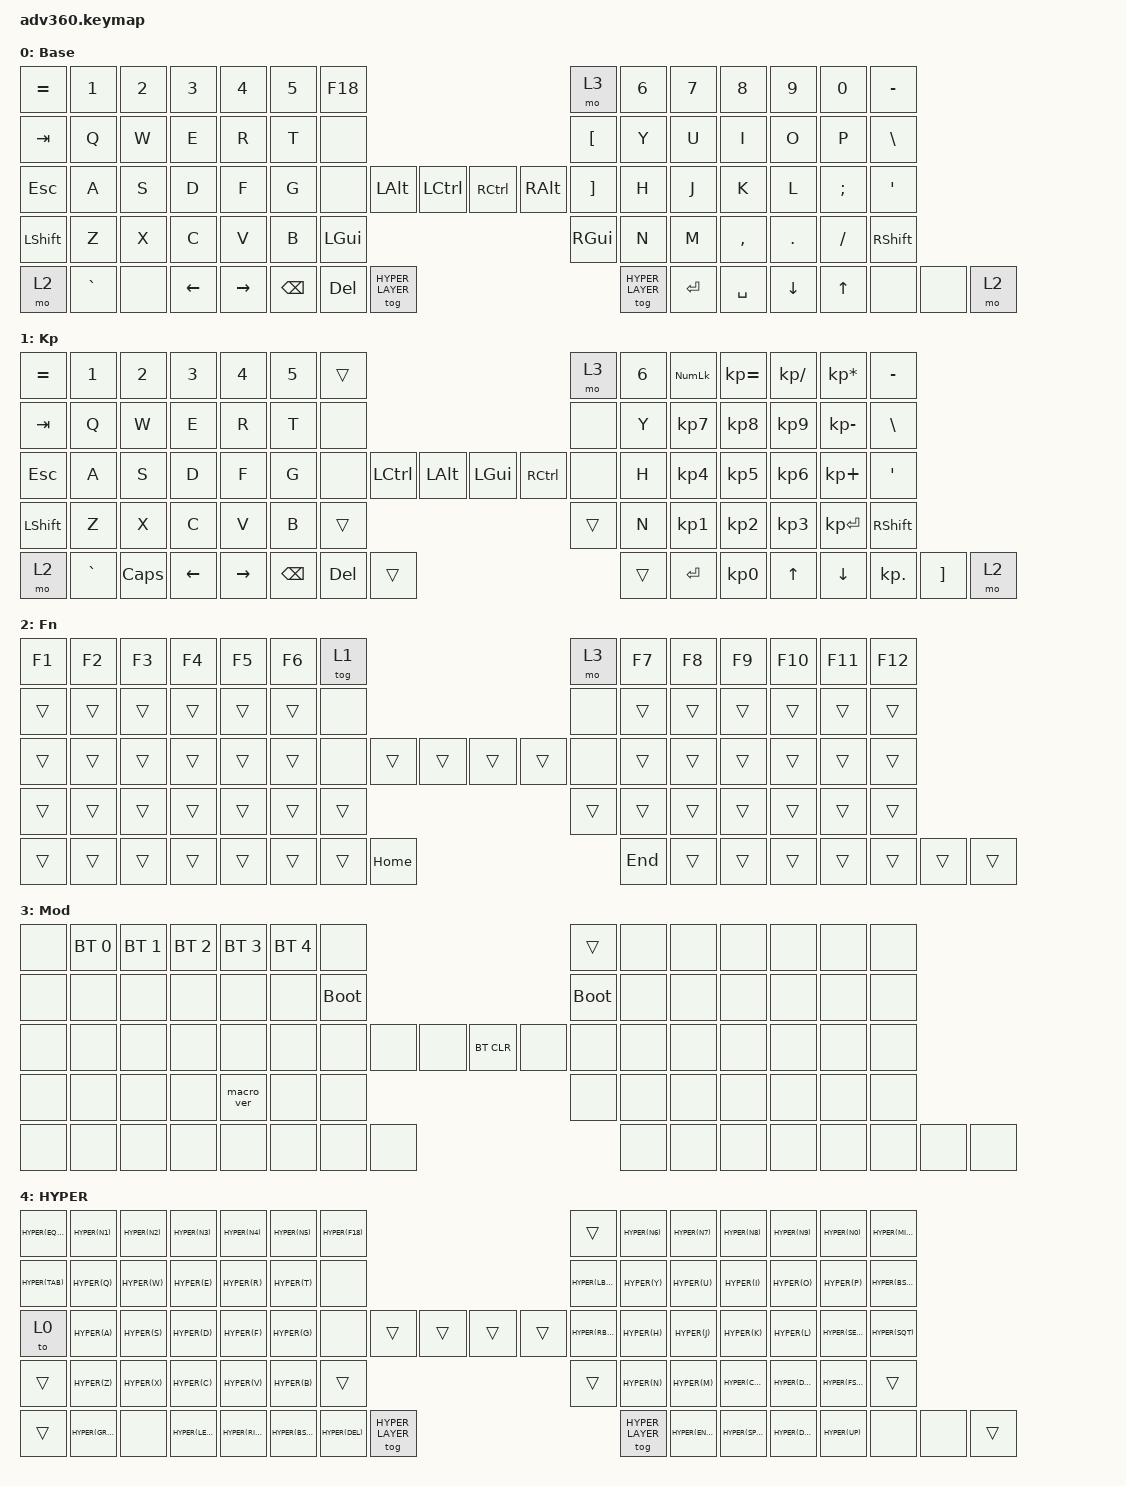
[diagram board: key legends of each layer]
#include <behaviors.dtsi>
#include <dt-bindings/zmk/keys.h>
#include <dt-bindings/zmk/bt.h>
#include <dt-bindings/zmk/pointing.h>

// Match OmniWM's hyperKeyModifiers, leaving Shift available for move variants.
#define HYPER(key) LC(LA(LG(key)))
#define HYPER_LAYER 4

#if defined(CONFIG_SHIELD_ADV360_DONGLE)
// Kinesis lighting behaviors require hardware that is only on the keyboard halves.
&rgb_ug { status = "disabled"; };
&stp { status = "disabled"; };
&bl { status = "disabled"; };
#endif

/ {
    behaviors {
      #include "macros.dtsi"
      #include "version.dtsi"

      hm: homerow_mods {
          compatible = "zmk,behavior-hold-tap";
          label = "HOMEROW_MODS";
          #binding-cells = <2>;
          tapping-term-ms = <200>;
          quick_tap_ms = <175>;
          flavor = "tap-preferred";
          bindings = <&kp>, <&kp>;
      };
    };

  keymap {
    compatible = "zmk,keymap";

    default_layer {
      display-name = "Base";
      bindings = <
        &kp EQUAL &kp N1    &kp N2   &kp N3   &kp N4     &kp N5 &kp F18                                                          &mo 3    &kp N6 &kp N7   &kp N8    &kp N9   &kp N0   &kp MINUS
        &kp TAB   &kp Q     &kp W    &kp E    &kp R      &kp T  &none                                                            &kp LBKT &kp Y  &kp U    &kp I     &kp O    &kp P    &kp BSLH
        &kp ESC   &kp A     &kp S    &kp D    &kp F      &kp G  &none           &kp LALT  &kp LCTRL &kp RCTRL &kp RALT           &kp RBKT &kp H  &kp J    &kp K     &kp L    &kp SEMI &kp SQT
        &kp LSHFT &kp Z     &kp X    &kp C    &kp V      &kp B                            &kp LGUI &kp RGUI                              &kp N  &kp M    &kp COMMA &kp DOT  &kp FSLH &kp RSHFT
        &mo 2     &kp GRAVE &none    &kp LEFT &kp RIGHT                &kp BSPC &kp DEL   &tog HYPER_LAYER &tog HYPER_LAYER &kp ENTER &kp SPACE                &kp DOWN &kp UP    &none    &none    &mo 2
      >;
    };
    keypad {
      display-name = "Kp";
      bindings = <
        &kp EQUAL &kp N1    &kp N2   &kp N3   &kp N4     &kp N5 &trans                                                           &mo 3 &kp N6 &kp KP_NUM &kp KP_EQUAL &kp KP_DIVIDE &kp KP_MULTIPLY &kp MINUS
        &kp TAB   &kp Q     &kp W    &kp E    &kp R      &kp T  &none                                                            &none &kp Y  &kp KP_N7  &kp KP_N8    &kp KP_N9     &kp KP_MINUS    &kp BSLH
        &kp ESC   &kp A     &kp S    &kp D    &kp F      &kp G  &none           &kp LCTRL &kp LALT &kp LGUI  &kp RCTRL           &none &kp H  &kp KP_N4  &kp KP_N5    &kp KP_N6     &kp KP_PLUS     &kp SQT
        &kp LSHFT &kp Z     &kp X    &kp C    &kp V      &kp B                            &trans   &trans                              &kp N  &kp KP_N1  &kp KP_N2    &kp KP_N3     &kp KP_ENTER    &kp RSHFT
        &mo 2     &kp GRAVE &kp CAPS &kp LEFT &kp RIGHT                &kp BSPC &kp DEL   &trans   &trans    &kp ENTER &kp KP_N0              &kp UP     &kp DOWN     &kp KP_DOT    &kp RBKT        &mo 2
      >;
    };
    fn {
      display-name = "Fn";
      bindings = <
        &kp F1 &kp F2 &kp F3 &kp F4 &kp F5 &kp F6 &tog 1                                           &mo 3 &kp F7 &kp F8 &kp F9 &kp F10 &kp F11 &kp F12
        &trans &trans &trans &trans &trans &trans  &none                                           &none &trans &trans &trans &trans  &trans  &trans
        &trans &trans &trans &trans &trans &trans  &none        &trans &trans &trans &trans        &none &trans &trans &trans &trans  &trans  &trans
        &trans &trans &trans &trans &trans &trans                      &trans &trans                     &trans &trans &trans &trans  &trans  &trans
        &trans &trans &trans &trans &trans               &trans &trans &kp HOME &kp END &trans &trans          &trans &trans &trans  &trans  &trans
      >;
    };
    mod {
      display-name = "Mod";
      bindings = <
        &none &bt BT_SEL 0 &bt BT_SEL 1 &bt BT_SEL 2 &bt BT_SEL 3 &bt BT_SEL 4 &none                                                                     &trans                 &none        &none        &none        &none &none &none
        &none &none        &none        &none        &none        &none        &bootloader                                                               &bootloader            &none        &none        &none        &none &none &none
        &none          &none        &none        &none        &none        &none        &none                   &none &none &bt BT_CLR &none                      &none        &none        &none        &none        &none &none &none
        &none &none        &none        &none        &macro_ver   &none                                      &none &none                                                        &none        &none        &none        &none &none &none
        &none &none        &none        &none        &none                                       &none &none &none &none      &none      &none                                              &none        &none        &none &none &none
      >;
    };
    hyper {
      display-name = "HYPER";
      bindings = <
        &kp HYPER(EQUAL) &kp HYPER(N1) &kp HYPER(N2) &kp HYPER(N3) &kp HYPER(N4) &kp HYPER(N5) &kp HYPER(F18)                                      &trans &kp HYPER(N6) &kp HYPER(N7) &kp HYPER(N8) &kp HYPER(N9) &kp HYPER(N0) &kp HYPER(MINUS)
        &kp HYPER(TAB)   &kp HYPER(Q)  &kp HYPER(W)  &kp HYPER(E)  &kp HYPER(R)  &kp HYPER(T)  &none                                               &kp HYPER(LBKT) &kp HYPER(Y) &kp HYPER(U) &kp HYPER(I) &kp HYPER(O) &kp HYPER(P) &kp HYPER(BSLH)
        &to 0            &kp HYPER(A)  &kp HYPER(S)  &kp HYPER(D)  &kp HYPER(F)  &kp HYPER(G)  &none       &trans &trans &trans &trans             &kp HYPER(RBKT) &kp HYPER(H) &kp HYPER(J) &kp HYPER(K) &kp HYPER(L) &kp HYPER(SEMI) &kp HYPER(SQT)
        &trans           &kp HYPER(Z)  &kp HYPER(X)  &kp HYPER(C)  &kp HYPER(V)  &kp HYPER(B)                        &trans &trans                      &kp HYPER(N) &kp HYPER(M) &kp HYPER(COMMA) &kp HYPER(DOT) &kp HYPER(FSLH) &trans
        &trans           &kp HYPER(GRAVE) &none      &kp HYPER(LEFT) &kp HYPER(RIGHT)          &kp HYPER(BSPC) &kp HYPER(DEL) &tog HYPER_LAYER &tog HYPER_LAYER &kp HYPER(ENTER) &kp HYPER(SPACE) &kp HYPER(DOWN) &kp HYPER(UP) &none &none &trans
      >;
    };
  };
};
